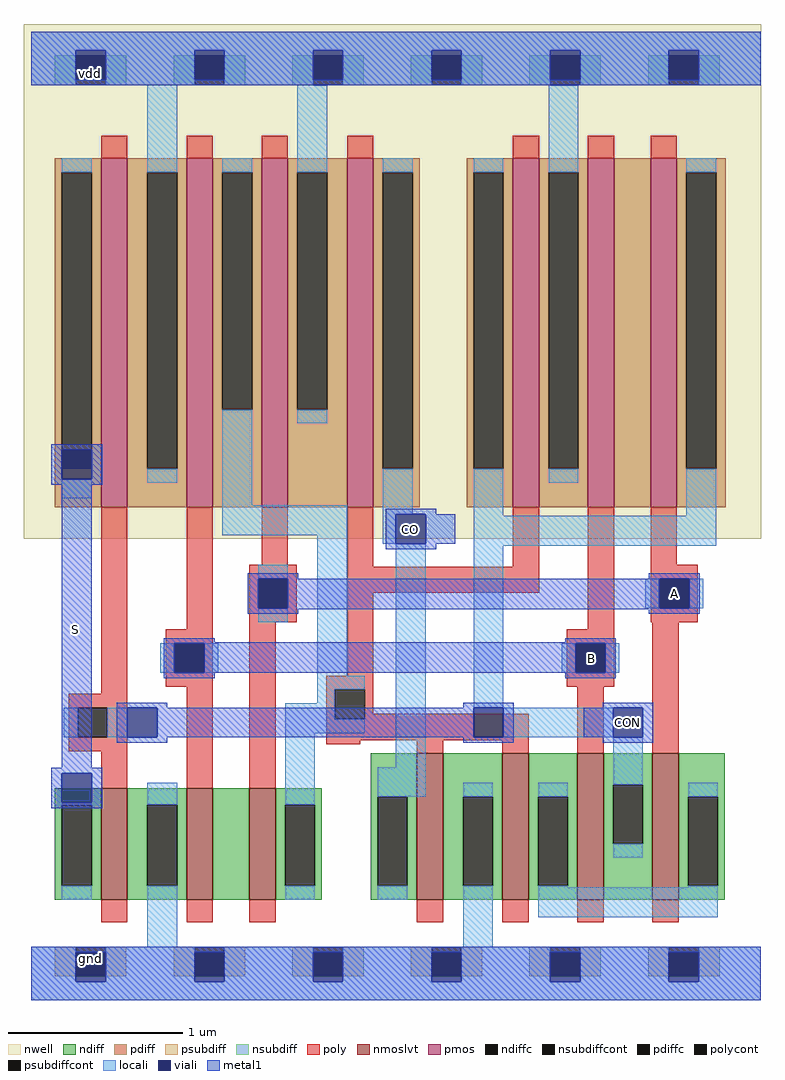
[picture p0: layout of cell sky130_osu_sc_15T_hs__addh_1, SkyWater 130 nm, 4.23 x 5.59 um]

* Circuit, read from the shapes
.subckt sky130_osu_sc_15T_hs__addh_1 S A B CO CON
XM1 gnd CON S gnd sky130_fd_pr__nfet_01v8_lvt w=0.64 l=0.15
XM2 n1 B gnd gnd sky130_fd_pr__nfet_01v8_lvt w=0.64 l=0.15
XM3 n2 A n1 gnd sky130_fd_pr__nfet_01v8_lvt w=0.64 l=0.15
XM4 gnd n2 CO gnd sky130_fd_pr__nfet_01v8_lvt w=0.84 l=0.15
XM5 n3 n2 gnd gnd sky130_fd_pr__nfet_01v8_lvt w=0.84 l=0.15
XM6 CON B n3 gnd sky130_fd_pr__nfet_01v8_lvt w=0.84 l=0.15
XM7 n3 A CON gnd sky130_fd_pr__nfet_01v8_lvt w=0.84 l=0.15
XM8 vdd CON S vdd sky130_fd_pr__pfet_01v8 w=2 l=0.15
XM9 n2 B vdd vdd sky130_fd_pr__pfet_01v8 w=2 l=0.15
XM10 vdd A n2 vdd sky130_fd_pr__pfet_01v8 w=2 l=0.15
XM11 CO n2 vdd vdd sky130_fd_pr__pfet_01v8 w=2 l=0.15
XM12 vdd n2 CON vdd sky130_fd_pr__pfet_01v8 w=2 l=0.15
XM13 n4 B vdd vdd sky130_fd_pr__pfet_01v8 w=2 l=0.15
XM14 CON A n4 vdd sky130_fd_pr__pfet_01v8 w=2 l=0.15
.ends

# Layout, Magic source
magic
tech sky130A
magscale 1 2
<< nwell >>
rect -9 529 837 1119
<< nmoslvt >>
rect 80 115 110 243
rect 178 115 208 243
rect 250 115 280 243
rect 442 115 472 283
rect 540 115 570 283
rect 626 115 656 283
rect 712 115 742 283
<< pmos >>
rect 80 565 110 965
rect 178 565 208 965
rect 264 565 294 965
rect 362 565 392 965
rect 552 565 582 965
rect 638 565 668 965
rect 710 565 740 965
<< ndiff >>
rect 27 224 80 243
rect 27 131 35 224
rect 69 131 80 224
rect 27 115 80 131
rect 110 224 178 243
rect 110 131 133 224
rect 167 131 178 224
rect 110 115 178 131
rect 208 115 250 243
rect 280 224 333 243
rect 280 131 291 224
rect 325 131 333 224
rect 280 115 333 131
rect 389 233 442 283
rect 389 131 397 233
rect 431 131 442 233
rect 389 115 442 131
rect 472 233 540 283
rect 472 131 495 233
rect 529 131 540 233
rect 472 115 540 131
rect 570 233 626 283
rect 570 131 581 233
rect 615 131 626 233
rect 570 115 626 131
rect 656 247 712 283
rect 656 179 667 247
rect 701 179 712 247
rect 656 115 712 179
rect 742 233 795 283
rect 742 131 753 233
rect 787 131 795 233
rect 742 115 795 131
<< pdiff >>
rect 27 949 80 965
rect 27 609 35 949
rect 69 609 80 949
rect 27 565 80 609
rect 110 949 178 965
rect 110 609 133 949
rect 167 609 178 949
rect 110 565 178 609
rect 208 949 264 965
rect 208 677 219 949
rect 253 677 264 949
rect 208 565 264 677
rect 294 949 362 965
rect 294 677 305 949
rect 339 677 362 949
rect 294 565 362 677
rect 392 949 445 965
rect 392 609 403 949
rect 437 609 445 949
rect 392 565 445 609
rect 499 949 552 965
rect 499 609 507 949
rect 541 609 552 949
rect 499 565 552 609
rect 582 949 638 965
rect 582 609 593 949
rect 627 609 638 949
rect 582 565 638 609
rect 668 565 710 965
rect 740 949 796 965
rect 740 609 751 949
rect 785 609 796 949
rect 740 565 796 609
<< ndiffc >>
rect 35 131 69 224
rect 133 131 167 224
rect 291 131 325 224
rect 397 131 431 233
rect 495 131 529 233
rect 581 131 615 233
rect 667 179 701 247
rect 753 131 787 233
<< pdiffc >>
rect 35 609 69 949
rect 133 609 167 949
rect 219 677 253 949
rect 305 677 339 949
rect 403 609 437 949
rect 507 609 541 949
rect 593 609 627 949
rect 751 609 785 949
<< psubdiff >>
rect 27 27 51 61
rect 85 27 109 61
rect 163 27 187 61
rect 221 27 245 61
rect 299 27 323 61
rect 357 27 381 61
rect 435 27 459 61
rect 493 27 517 61
rect 571 27 595 61
rect 629 27 653 61
rect 707 27 731 61
rect 765 27 789 61
<< nsubdiff >>
rect 27 1049 51 1083
rect 85 1049 109 1083
rect 163 1049 187 1083
rect 221 1049 245 1083
rect 299 1049 323 1083
rect 357 1049 381 1083
rect 435 1049 459 1083
rect 493 1049 517 1083
rect 571 1049 595 1083
rect 629 1049 653 1083
rect 707 1049 731 1083
rect 765 1049 789 1083
<< psubdiffcont >>
rect 51 27 85 61
rect 187 27 221 61
rect 323 27 357 61
rect 459 27 493 61
rect 595 27 629 61
rect 731 27 765 61
<< nsubdiffcont >>
rect 51 1049 85 1083
rect 187 1049 221 1083
rect 323 1049 357 1083
rect 459 1049 493 1083
rect 595 1049 629 1083
rect 731 1049 765 1083
<< poly >>
rect 80 965 110 991
rect 178 965 208 991
rect 264 965 294 991
rect 362 965 392 991
rect 552 965 582 991
rect 638 965 668 991
rect 710 965 740 991
rect 80 351 110 565
rect 178 425 208 565
rect 264 499 294 565
rect 154 409 208 425
rect 154 375 164 409
rect 198 375 208 409
rect 154 359 208 375
rect 43 335 110 351
rect 43 301 53 335
rect 87 301 110 335
rect 43 285 110 301
rect 80 243 110 285
rect 178 243 208 359
rect 250 483 304 499
rect 250 449 260 483
rect 294 449 304 483
rect 250 433 304 449
rect 362 497 392 565
rect 552 497 582 565
rect 362 467 582 497
rect 250 243 280 433
rect 362 372 392 467
rect 638 425 668 565
rect 710 499 740 565
rect 710 483 764 499
rect 710 449 720 483
rect 754 449 764 483
rect 710 433 764 449
rect 338 356 392 372
rect 614 409 668 425
rect 614 375 624 409
rect 658 375 668 409
rect 614 359 668 375
rect 338 322 348 356
rect 382 328 392 356
rect 382 322 570 328
rect 338 298 570 322
rect 338 293 377 298
rect 442 283 472 298
rect 540 283 570 298
rect 626 283 656 359
rect 712 283 742 433
rect 80 89 110 115
rect 178 89 208 115
rect 250 89 280 115
rect 442 89 472 115
rect 540 89 570 115
rect 626 89 656 115
rect 712 89 742 115
<< polycont >>
rect 164 375 198 409
rect 53 301 87 335
rect 260 449 294 483
rect 720 449 754 483
rect 624 375 658 409
rect 348 322 382 356
<< locali >>
rect 0 1089 836 1110
rect 0 1049 51 1089
rect 85 1049 187 1089
rect 221 1049 323 1089
rect 357 1049 459 1089
rect 493 1049 595 1089
rect 629 1049 731 1089
rect 765 1049 836 1089
rect 35 949 69 965
rect 35 575 69 597
rect 133 949 167 1049
rect 133 593 167 609
rect 219 949 253 965
rect 219 567 253 677
rect 305 949 339 1049
rect 305 661 339 677
rect 403 949 437 965
rect 219 533 362 567
rect 260 483 294 499
rect 260 433 294 449
rect 148 375 164 409
rect 198 375 214 409
rect 328 372 362 533
rect 403 557 437 609
rect 507 949 541 965
rect 403 523 418 557
rect 328 356 382 372
rect 328 340 348 356
rect 37 301 53 335
rect 87 301 110 335
rect 291 322 348 340
rect 291 306 382 322
rect 35 224 69 226
rect 35 115 69 131
rect 133 224 167 249
rect 133 61 167 131
rect 291 224 325 306
rect 418 267 452 523
rect 507 555 541 609
rect 593 949 627 1049
rect 593 593 627 609
rect 751 949 785 965
rect 751 555 785 609
rect 507 521 785 555
rect 507 335 541 521
rect 704 449 720 483
rect 754 449 770 483
rect 608 375 624 409
rect 658 375 674 409
rect 541 301 667 335
rect 291 115 325 131
rect 397 233 452 267
rect 495 233 529 249
rect 397 115 431 131
rect 495 61 529 131
rect 581 233 615 249
rect 667 247 701 301
rect 667 163 701 179
rect 753 233 787 249
rect 581 129 615 131
rect 753 129 787 131
rect 581 95 787 129
rect 0 21 51 61
rect 85 21 187 61
rect 221 21 323 61
rect 357 21 459 61
rect 493 21 595 61
rect 629 21 731 61
rect 765 21 836 61
rect 0 0 836 21
<< viali >>
rect 51 1083 85 1089
rect 51 1055 85 1083
rect 187 1083 221 1089
rect 187 1055 221 1083
rect 323 1083 357 1089
rect 323 1055 357 1083
rect 459 1083 493 1089
rect 459 1055 493 1083
rect 595 1083 629 1089
rect 595 1055 629 1083
rect 731 1083 765 1089
rect 731 1055 765 1083
rect 35 609 69 631
rect 35 597 69 609
rect 260 449 294 483
rect 164 375 198 409
rect 418 523 452 557
rect 110 301 144 335
rect 35 226 69 260
rect 720 449 754 483
rect 624 375 658 409
rect 507 301 541 335
rect 667 301 701 335
rect 51 27 85 55
rect 51 21 85 27
rect 187 27 221 55
rect 187 21 221 27
rect 323 27 357 55
rect 323 21 357 27
rect 459 27 493 55
rect 459 21 493 27
rect 595 27 629 55
rect 595 21 629 27
rect 731 27 765 55
rect 731 21 765 27
<< metal1 >>
rect 0 1089 836 1110
rect 0 1055 51 1089
rect 85 1055 187 1089
rect 221 1055 323 1089
rect 357 1055 459 1089
rect 493 1055 595 1089
rect 629 1055 731 1089
rect 765 1055 836 1089
rect 0 1049 836 1055
rect 23 631 81 637
rect 23 597 35 631
rect 69 597 81 631
rect 23 591 81 597
rect 35 266 69 591
rect 406 557 464 563
rect 406 523 418 557
rect 452 523 486 557
rect 406 517 464 523
rect 248 483 306 489
rect 708 483 766 489
rect 248 449 260 483
rect 294 449 720 483
rect 754 449 766 483
rect 248 448 766 449
rect 248 443 306 448
rect 708 443 766 448
rect 152 410 210 415
rect 612 410 670 415
rect 152 409 670 410
rect 152 375 164 409
rect 198 375 624 409
rect 658 375 670 409
rect 152 369 210 375
rect 612 369 670 375
rect 98 335 156 341
rect 495 335 553 341
rect 655 335 713 341
rect 98 301 110 335
rect 144 301 507 335
rect 541 301 553 335
rect 633 301 667 335
rect 701 301 713 335
rect 98 295 156 301
rect 495 295 553 301
rect 655 295 713 301
rect 23 260 81 266
rect 23 226 35 260
rect 69 226 81 260
rect 23 220 81 226
rect 0 55 836 61
rect 0 21 51 55
rect 85 21 187 55
rect 221 21 323 55
rect 357 21 459 55
rect 493 21 595 55
rect 629 21 731 55
rect 765 21 836 55
rect 0 0 836 21
<< labels >>
rlabel metal1 50 425 50 425 1 S
port 1 n
rlabel viali 737 466 737 466 1 A
port 2 n
rlabel viali 642 392 642 392 1 B
port 3 n
rlabel viali 435 540 435 540 1 CO
port 4 n
rlabel viali 684 318 684 318 1 CON
port 5 n
rlabel viali 68 48 68 48 1 gnd
rlabel viali 68 1062 68 1062 1 vdd
<< end >>
